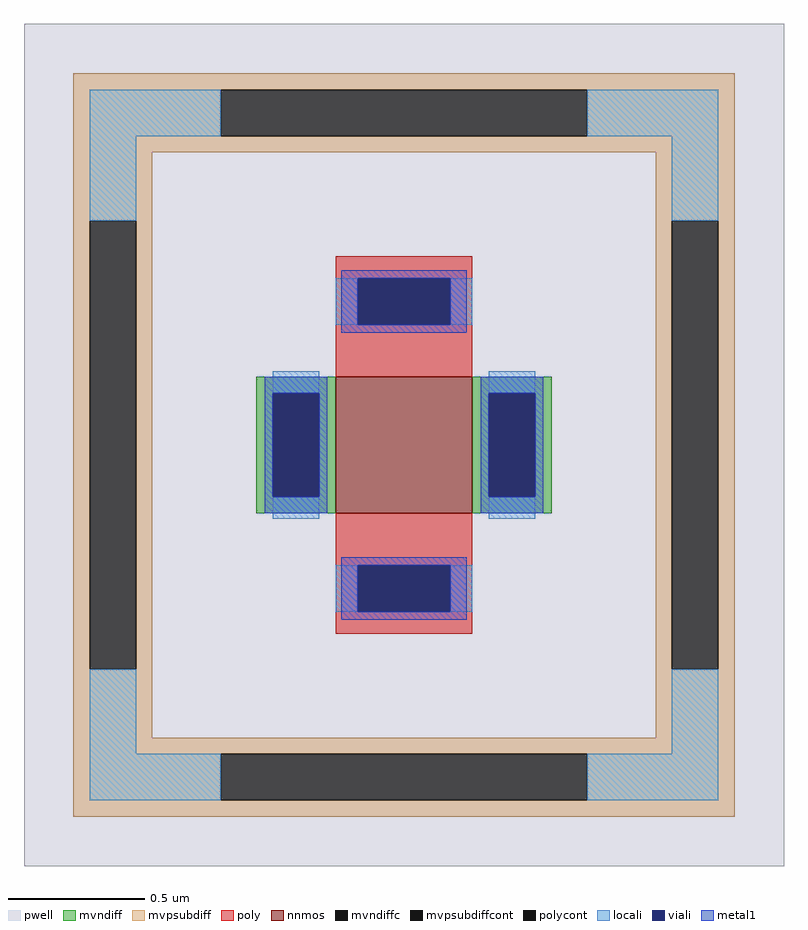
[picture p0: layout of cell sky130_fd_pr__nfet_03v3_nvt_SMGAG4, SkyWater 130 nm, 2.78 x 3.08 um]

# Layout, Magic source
magic
tech sky130A
<< pwell >>
rect -139 -154 139 154
<< nnmos >>
rect -25 -25 25 25
<< mvndiff >>
rect -54 19 -25 25
rect -54 -19 -48 19
rect -31 -19 -25 19
rect -54 -25 -25 -19
rect 25 19 54 25
rect 25 -19 31 19
rect 48 -19 54 19
rect 25 -25 54 -19
<< mvndiffc >>
rect -48 -19 -31 19
rect 31 -19 48 19
<< mvpsubdiff >>
rect -121 130 121 136
rect -121 113 -67 130
rect 67 113 121 130
rect -121 107 121 113
rect -121 82 -92 107
rect -121 -82 -115 82
rect -98 -82 -92 82
rect 92 82 121 107
rect -121 -107 -92 -82
rect 92 -82 98 82
rect 115 -82 121 82
rect 92 -107 121 -82
rect -121 -113 121 -107
rect -121 -130 -67 -113
rect 67 -130 121 -113
rect -121 -136 121 -130
<< mvpsubdiffcont >>
rect -67 113 67 130
rect -115 -82 -98 82
rect 98 -82 115 82
rect -67 -130 67 -113
<< poly >>
rect -25 61 25 69
rect -25 44 -17 61
rect 17 44 25 61
rect -25 25 25 44
rect -25 -44 25 -25
rect -25 -61 -17 -44
rect 17 -61 25 -44
rect -25 -69 25 -61
<< polycont >>
rect -17 44 17 61
rect -17 -61 17 -44
<< locali >>
rect -115 113 -67 130
rect 67 113 115 130
rect -115 82 -98 113
rect 98 82 115 113
rect -25 44 -17 61
rect 17 44 25 61
rect -48 19 -31 27
rect -48 -27 -31 -19
rect 31 19 48 27
rect 31 -27 48 -19
rect -25 -61 -17 -44
rect 17 -61 25 -44
rect -115 -113 -98 -82
rect 98 -113 115 -82
rect -115 -130 -67 -113
rect 67 -130 115 -113
<< viali >>
rect -17 44 17 61
rect -48 -19 -31 19
rect 31 -19 48 19
rect -17 -61 17 -44
<< metal1 >>
rect -23 61 23 64
rect -23 44 -17 61
rect 17 44 23 61
rect -23 41 23 44
rect -51 19 -28 25
rect -51 -19 -48 19
rect -31 -19 -28 19
rect -51 -25 -28 -19
rect 28 19 51 25
rect 28 -19 31 19
rect 48 -19 51 19
rect 28 -25 51 -19
rect -23 -44 23 -41
rect -23 -61 -17 -44
rect 17 -61 23 -44
rect -23 -64 23 -61
<< properties >>
string FIXED_BBOX -106 -121 106 121
string gencell sky130_fd_pr__nfet_03v3_nvt
string library sky130
string parameters w 0.5 l 0.5 m 1 nf 1 diffcov 100 polycov 100 guard 1 glc 1 grc 1 gtc 1 gbc 1 tbcov 100 rlcov 100 topc 1 botc 1 poverlap 0 doverlap 1 lmin 0.50 wmin 0.42 compatible {sky130_fd_pr__nfet_01v8 sky130_fd_pr__nfet_01v8_lvt  sky130_fd_bs_flash__special_sonosfet_star  sky130_fd_pr__nfet_g5v0d10v5 sky130_fd_pr__nfet_05v0_nvt  sky130_fd_pr__nfet_03v3_nvt} full_metal 1 viasrc 100 viadrn 100 viagate 100 viagb 0 viagr 0 viagl 0 viagt 0
<< end >>
